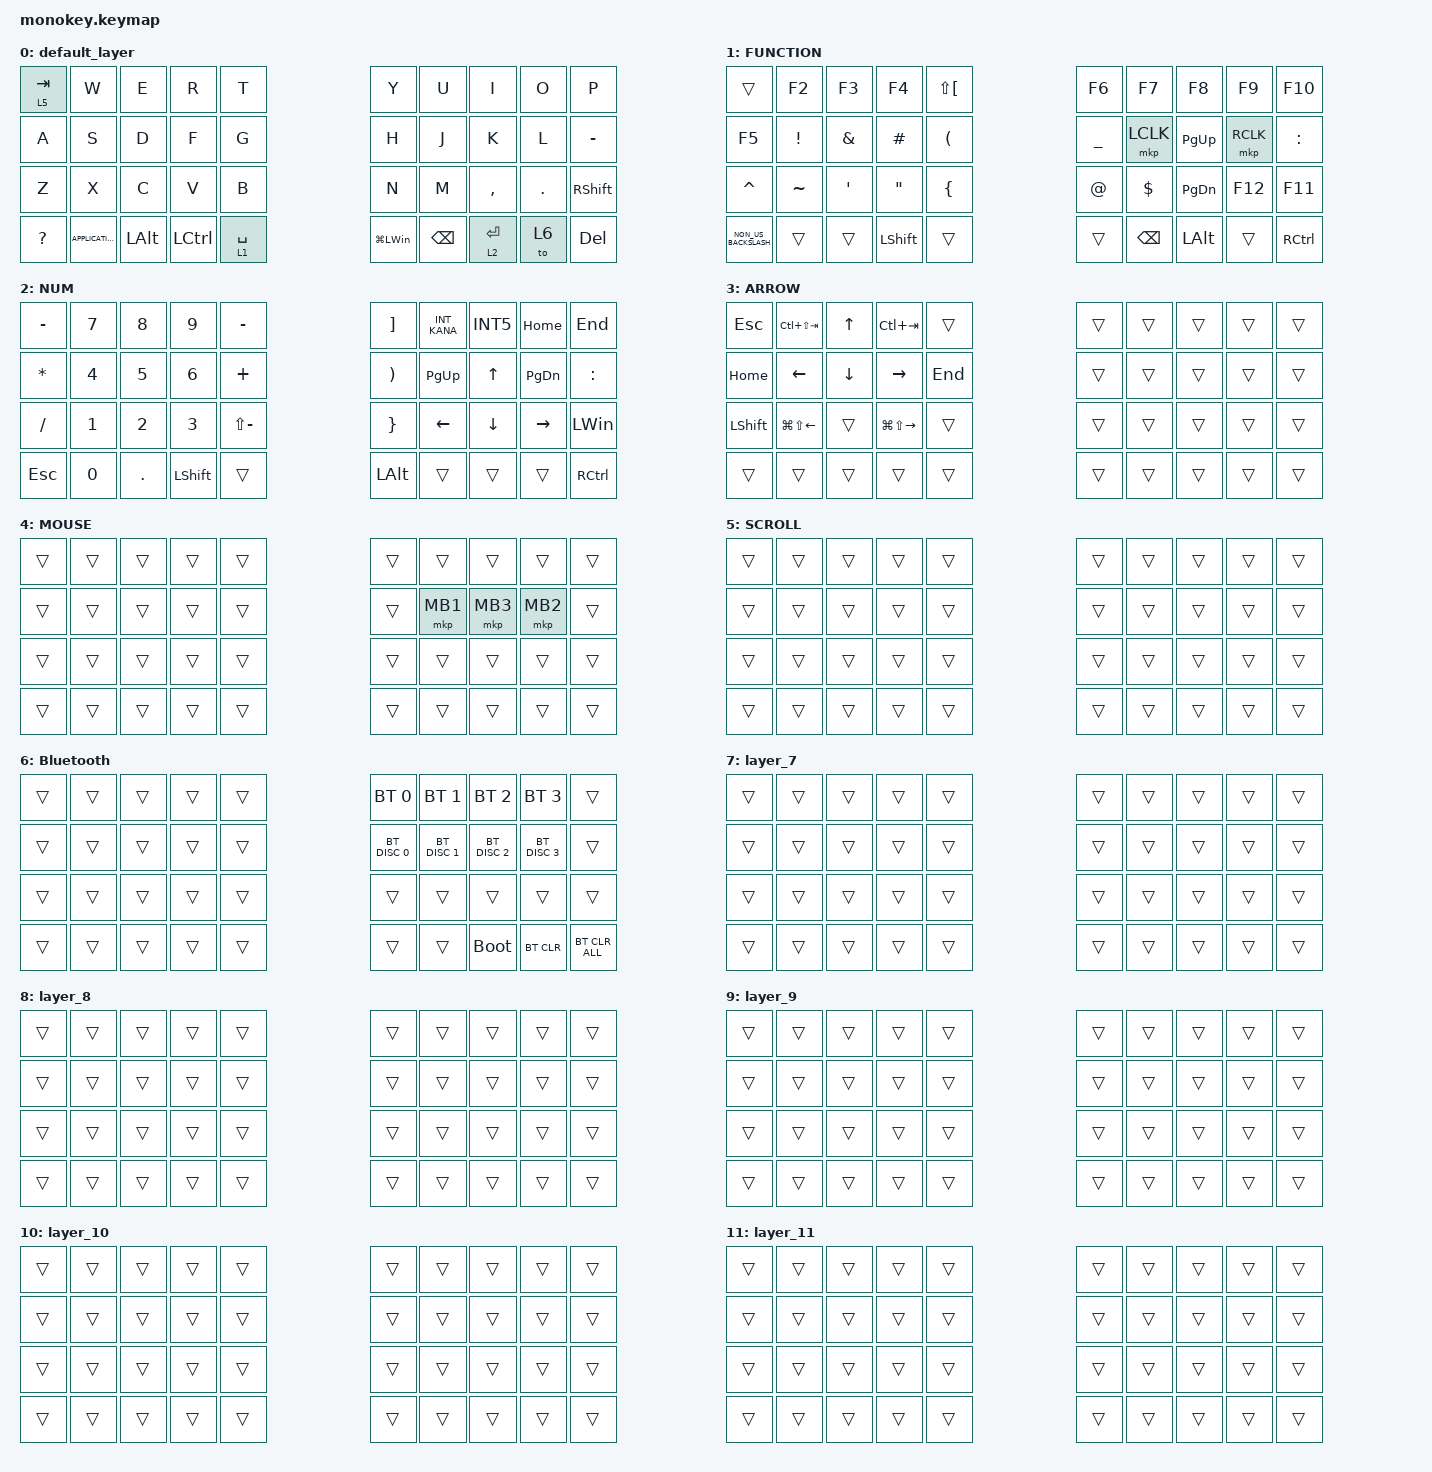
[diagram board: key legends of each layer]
#include <behaviors.dtsi>
#include <dt-bindings/zmk/bt.h>
#include <dt-bindings/zmk/keys.h>
#include <dt-bindings/zmk/pointing.h>

#define MOUSE 4
#define SCROLL 5
#define NUM 6

/ {
    combos { compatible = "zmk,combos"; };

    keymap {
        compatible = "zmk,keymap";

        default_layer {
            bindings = <
&lt 5 TAB     &kp W              &kp E         &kp R             &kp T                                         &kp Y        &kp U  &kp I      &kp O    &kp P
&kp A         &kp S              &kp D         &kp F             &kp G                                         &kp H        &kp J  &kp K      &kp L    &kp MINUS
&kp Z         &kp X              &kp C         &kp V             &kp B                                         &kp N        &kp M  &kp COMMA  &kp DOT  &kp RIGHT_SHIFT
&kp QUESTION  &kp K_APPLICATION  &kp LEFT_ALT  &kp LEFT_CONTROL  &lt 1 SPACE  &kp LG(LEFT_WIN)  &kp BACKSPACE  &lt 2 ENTER                    &to 6    &kp DEL
            >;
        };

        FUNCTION {
            bindings = <
&trans                &kp F2           &kp F3         &kp F4             &kp LS(LEFT_BRACKET)                         &kp F6          &kp F7      &kp F8         &kp F9     &kp F10
&kp F5                &kp EXCLAMATION  &kp AMPERSAND  &kp HASH           &kp LEFT_PARENTHESIS                         &kp UNDERSCORE  &mkp LCLK   &kp PAGE_UP    &mkp RCLK  &kp COLON
&kp CARET             &kp TILDE        &kp SQT        &kp DOUBLE_QUOTES  &kp LEFT_BRACE                               &kp AT_SIGN     &kp DOLLAR  &kp PAGE_DOWN  &kp F12    &kp F11
&kp NON_US_BACKSLASH  &trans           &trans         &kp LEFT_SHIFT     &trans                &trans  &kp BACKSPACE  &kp LEFT_ALT                               &trans     &kp RCTRL
            >;
        };

        NUM {
            bindings = <
&kp MINUS     &kp NUMBER_7  &kp NUMBER_8  &kp NUMBER_9    &kp MINUS                            &kp RIGHT_BRACKET      &kp INT_KANA  &kp INT5      &kp HOME       &kp END
&kp ASTERISK  &kp NUMBER_4  &kp NUMBER_5  &kp NUMBER_6    &kp PLUS                             &kp RIGHT_PARENTHESIS  &kp PAGE_UP   &kp UP_ARROW  &kp PAGE_DOWN  &kp COLON
&kp SLASH     &kp NUMBER_1  &kp NUMBER_2  &kp NUMBER_3    &kp LS(MINUS)                        &kp RIGHT_BRACE        &kp LEFT      &kp DOWN      &kp RIGHT      &kp LEFT_WIN
&kp ESCAPE    &kp N0        &kp DOT       &kp LEFT_SHIFT  &trans         &kp LEFT_ALT  &trans  &trans                                             &trans         &kp RCTRL
            >;
        };

        ARROW {
            bindings = <
&kp ESCAPE      &kp LC(LS(TAB))         &kp UP_ARROW    &kp LC(TAB)              &trans                   &trans  &trans  &trans  &trans  &trans
&kp HOME        &kp LEFT_ARROW          &kp DOWN_ARROW  &kp RIGHT_ARROW          &kp END                  &trans  &trans  &trans  &trans  &trans
&kp LEFT_SHIFT  &kp LG(LS(LEFT_ARROW))  &trans          &kp LG(LS(RIGHT_ARROW))  &trans                   &trans  &trans  &trans  &trans  &trans
&trans          &trans                  &trans          &trans                   &trans   &trans  &trans  &trans                  &trans  &trans
            >;
        };

        MOUSE {
            bindings = <
&trans  &trans  &trans  &trans  &trans                  &trans  &trans    &trans    &trans    &trans
&trans  &trans  &trans  &trans  &trans                  &trans  &mkp MB1  &mkp MB3  &mkp MB2  &trans
&trans  &trans  &trans  &trans  &trans                  &trans  &trans    &trans    &trans    &trans
&trans  &trans  &trans  &trans  &trans  &trans  &trans  &trans                      &trans    &trans
            >;
        };

        SCROLL {
            bindings = <
&trans  &trans  &trans  &trans  &trans                  &trans  &trans  &trans  &trans  &trans
&trans  &trans  &trans  &trans  &trans                  &trans  &trans  &trans  &trans  &trans
&trans  &trans  &trans  &trans  &trans                  &trans  &trans  &trans  &trans  &trans
&trans  &trans  &trans  &trans  &trans  &trans  &trans  &trans                  &trans  &trans
            >;
        };

        Bluetooth {
            bindings = <
&trans  &trans  &trans  &trans  &trans                  &bt BT_SEL 0   &bt BT_SEL 1   &bt BT_SEL 2   &bt BT_SEL 3   &trans
&trans  &trans  &trans  &trans  &trans                  &bt BT_DISC 0  &bt BT_DISC 1  &bt BT_DISC 2  &bt BT_DISC 3  &trans
&trans  &trans  &trans  &trans  &trans                  &trans         &trans         &trans         &trans         &trans
&trans  &trans  &trans  &trans  &trans  &trans  &trans  &bootloader                                  &bt BT_CLR     &bt BT_CLR_ALL
            >;
        };

        layer_7 {
            bindings = <
&trans  &trans  &trans  &trans  &trans                  &trans  &trans  &trans  &trans  &trans
&trans  &trans  &trans  &trans  &trans                  &trans  &trans  &trans  &trans  &trans
&trans  &trans  &trans  &trans  &trans                  &trans  &trans  &trans  &trans  &trans
&trans  &trans  &trans  &trans  &trans  &trans  &trans  &trans                  &trans  &trans
            >;
        };

        layer_8 {
            bindings = <
&trans  &trans  &trans  &trans  &trans                  &trans  &trans  &trans  &trans  &trans
&trans  &trans  &trans  &trans  &trans                  &trans  &trans  &trans  &trans  &trans
&trans  &trans  &trans  &trans  &trans                  &trans  &trans  &trans  &trans  &trans
&trans  &trans  &trans  &trans  &trans  &trans  &trans  &trans                  &trans  &trans
            >;
        };

        layer_9 {
            bindings = <
&trans  &trans  &trans  &trans  &trans                  &trans  &trans  &trans  &trans  &trans
&trans  &trans  &trans  &trans  &trans                  &trans  &trans  &trans  &trans  &trans
&trans  &trans  &trans  &trans  &trans                  &trans  &trans  &trans  &trans  &trans
&trans  &trans  &trans  &trans  &trans  &trans  &trans  &trans                  &trans  &trans
            >;
        };

        layer_10 {
            bindings = <
&trans  &trans  &trans  &trans  &trans                  &trans  &trans  &trans  &trans  &trans
&trans  &trans  &trans  &trans  &trans                  &trans  &trans  &trans  &trans  &trans
&trans  &trans  &trans  &trans  &trans                  &trans  &trans  &trans  &trans  &trans
&trans  &trans  &trans  &trans  &trans  &trans  &trans  &trans                  &trans  &trans
            >;
        };

        layer_11 {
            bindings = <
&trans  &trans  &trans  &trans  &trans                  &trans  &trans  &trans  &trans  &trans
&trans  &trans  &trans  &trans  &trans                  &trans  &trans  &trans  &trans  &trans
&trans  &trans  &trans  &trans  &trans                  &trans  &trans  &trans  &trans  &trans
&trans  &trans  &trans  &trans  &trans  &trans  &trans  &trans                  &trans  &trans
            >;
        };
    };
};
